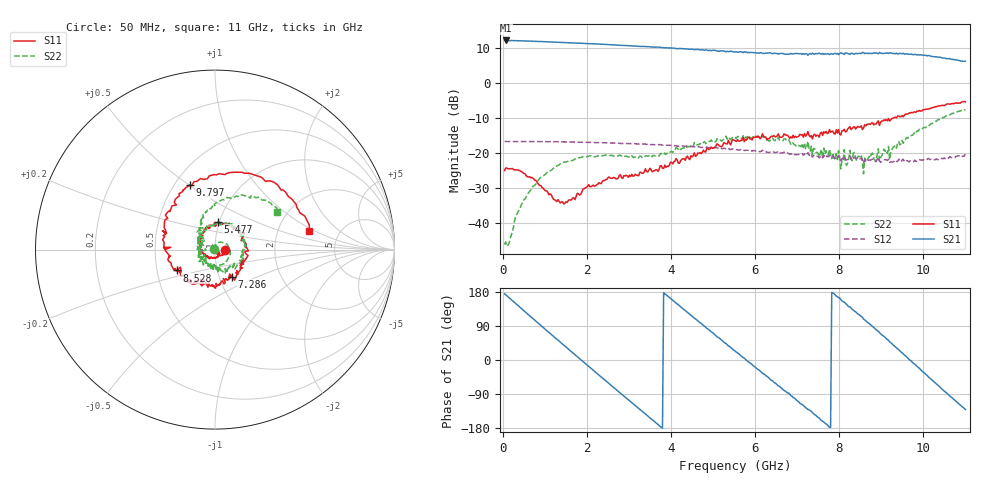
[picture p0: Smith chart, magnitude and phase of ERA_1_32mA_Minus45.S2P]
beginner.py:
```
### Save for book
# Code below was written by a Python programmer with one month of experience.
# Notes:
# - Variable names not descriptive:
#   - "suff" should be "lines"
#   - "line0" should be "column_names"
#   - "y" should be "fields"
# - The variable "z" is unnecessary.  Should say:
#       values[fields[0]] = dict(zip(column_names, fields))
#   or:
#       frequency = fields[0]
#       values[frequency] = dict(zip(column_names, fields))
# - The "else: return FALSE" is not necessary.  
#   The student put it there because tabs vs. spaces caused indentation errors.
# - The [8] and [9:] assumptions are vulnerable to comments being added to or 
#   subtracted from the input file.  The file actually contains a delimiting
#   line between comments and table that begins with a "#" mark.  This should
#   be used to find where the data table begins.
###
import json
filename = 'ERA_1_32mA_Minus45.S2P'
f = open(filename)
stuff = f.readlines()
values = {}
line0 = stuff[8]
for things in stuff[9:]:
    x = things
    y = x.strip().split()
    if y:
        z = dict(zip(line0, y))
        values[y[0]] = z
    else:
        print "FALSE"
jsonvalues = json.dumps(values)
print jsonvalues
```
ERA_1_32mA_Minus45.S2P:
! Mini-Circuits
! S2P DATA File Format
! Type: MMIC Amplifier
! Model: ERA-1  Reference Data:RDF-960
! Note: All S Parameters are in dB deg format
! TEST CONDITIONS: INPUT POWER = -15dBm, Icc = 32mA, Vd = 3.50V @Temperature = -45degC
# MHz S DB R 50
!  FREQ  dB(S11)  PHS(S11)  dB(S21)  PHS(S21)  dB(S12)  PHS(S12)  dB(S22)  PHS(S22)
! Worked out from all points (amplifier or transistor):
!   401 points, 50 MHz to 11 GHz, reference 50 ohm
!   highest |S21| = 12.1 dB at 77 MHz (marker M1)
!   |S21| within 3 dB of that: start of sweep to 5.093 GHz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
!   unconditionally stable (mu >= 1): start of sweep to end of sweep
!   at 1.832 GHz: K = 1.21, MAG = 11.4 dB, |S12| = -16.9 dB
!   at 5.45 GHz: K = 1.67, MAG = 9.2 dB, |S12| = -18.9 dB
!   at 11 GHz: K = 1.62, MAG = 8.7 dB, |S12| = -20.3 dB
!   S11 on the Smith chart (normalised r, x): 50 MHz: 1.12, -0.01; 5.477 GHz: 0.99, +0.31; 7.286 GHz: 1.15, -0.36; 8.528 GHz: 0.63, -0.16; 9.797 GHz: 0.60, +0.51; 11 GHz: 3.02, +0.88
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50  -25.04 -3.3  12.12 174.6  -16.75 -4.3  -46.22 138.4
77  -24.34 -5.3  12.15 172.1  -16.75 -6.1  -45.44 133.9
1724  -33.36 -32.3  11.41 13.7  -16.93 -131.0  -21.76 1.2
2723  -27.45 -78.6  10.83 -80.1  -17.20 152.6  -20.98 -79.8
3722  -24.73 -141.3  10.24 -172.7  -17.63 76.3  -20.91 -175.0
5477  -16.19 83.4  8.89 27.7  -18.88 -58.3  -15.43 50.0
5531  -16.49 78.9  8.86 23.3  -18.96 -62.5  -15.58 44.3
7286  -15.02 -58.2  8.24 -131.6  -20.63 164.3  -18.56 -74.3
8528  -12.28 -151.5  8.40 114.8  -21.47 73.1  -20.54 177.7
9797  -8.27 110.9  8.15 -10.7  -22.06 -10.2  -14.25 108.2
11003  -5.42 11.2  6.23 -130.8  -20.35 -93.6  -7.80 31.4
